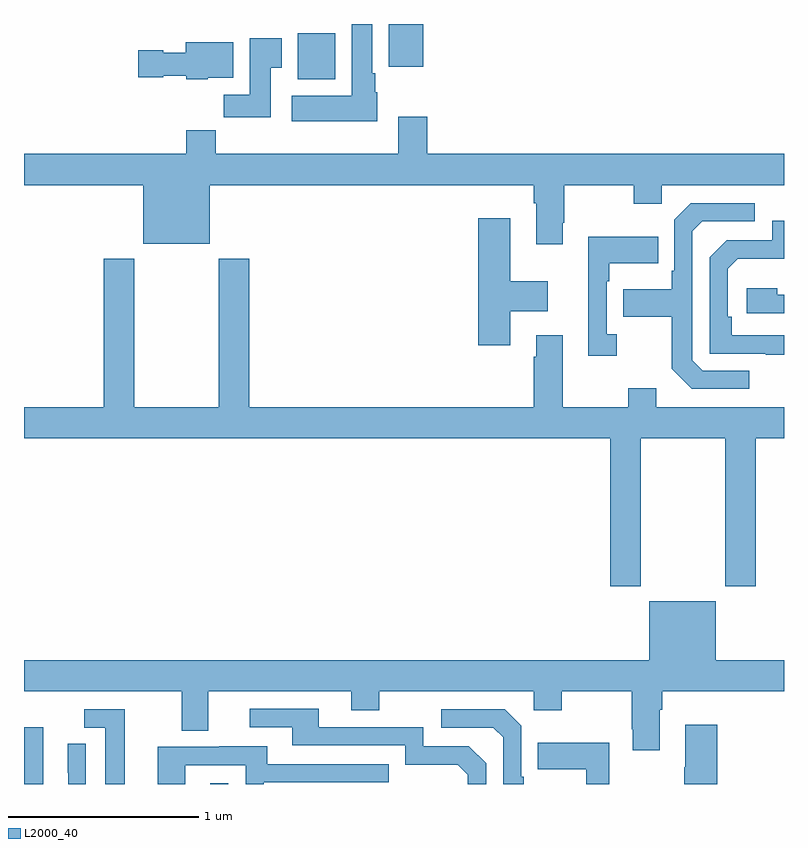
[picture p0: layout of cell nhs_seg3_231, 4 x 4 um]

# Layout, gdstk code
import gdstk
lib = gdstk.Library(unit=1e-6, precision=1e-09)
def R(c, l, rs):  # rectangles x0, y0, x1, y1
    for r in rs: c.add(gdstk.rectangle(r[:2], r[2:], *l))
def P(c, l, *ps):  # polygons
    for p in ps: c.add(gdstk.Polygon(p, *l))
L2000_40 = (2000, 40)

nhs_seg3_231 = lib.new_cell('nhs_seg3_231')
R(nhs_seg3_231, L2000_40, [(121,728.4,121.102,728.698), (121.979,728.4,122.076,728.404), (122.441,732.11,122.638,732.352), (122.921,732.176,123.1,732.4)])
P(nhs_seg3_231, L2000_40, [(122.86,732.042),(122.848,732.042),(122.848,732.142),(122.833,732.142),(122.833,732.4),(122.726,732.4),(122.726,732.022),(122.409,732.022),(122.409,731.888),(122.86,731.888)],
  [(122.299,732.169),(122.356,732.169),(122.356,732.325),(122.189,732.325),(122.189,732.028),(122.05,732.028),(122.05,731.91),(122.299,731.91)],
  [(121.968,732.116),(122.101,732.116),(122.101,732.304),(121.85,732.304),(121.85,732.25),(121.734,732.25),(121.734,732.263),(121.602,732.263),(121.602,732.121),(121.734,732.121),(121.734,732.128),(121.854,732.128),(121.854,732.11),(121.968,732.11)],
  [(123.835,731.353),(123.843,731.353),(123.843,731.552),(124.21,731.552),(124.21,731.453),(124.356,731.453),(124.356,731.552),(125,731.552),(125,731.716),(123.122,731.716),(123.122,731.911),(122.969,731.911),(122.969,731.716),(122.009,731.716),(122.009,731.84),(121.853,731.84),(121.853,731.716),(121,731.716),(121,731.552),(121.628,731.552),(121.628,731.243),(121.978,731.243),(121.978,731.552),(123.683,731.552),(123.683,731.456),(123.695,731.456),(123.695,731.241),(123.835,731.241)],
  [(124.816,730.575),(124.572,730.575),(124.518,730.629),(124.518,731.31),(124.569,731.361),(124.846,731.361),(124.846,731.457),(124.509,731.457),(124.422,731.37),(124.422,731.101),(124.41,731.101),(124.41,731.005),(124.153,731.005),(124.153,730.858),(124.41,730.858),(124.41,730.585),(124.515,730.479),(124.816,730.479)],
  [(123.559,730.889),(123.757,730.889),(123.757,731.047),(123.559,731.047),(123.559,731.377),(123.392,731.377),(123.392,730.71),(123.559,730.71)],
  [(125,730.761),(124.724,730.761),(124.724,730.858),(124.704,730.858),(124.704,731.112),(124.757,731.165),(125,731.165),(125,731.364),(124.938,731.364),(124.938,731.262),(124.698,731.262),(124.608,731.172),(124.608,730.665),(124.903,730.665),(124.903,730.66),(125,730.66)],
  [(124.12,730.766),(124.068,730.766),(124.068,731.045),(124.081,731.045),(124.081,731.141),(124.337,731.141),(124.337,731.281),(123.971,731.281),(123.971,730.653),(124.12,730.653)],
  [(124.245,730.22),(124.69,730.22),(124.69,729.441),(124.85,729.441),(124.85,730.22),(125,730.22),(125,730.384),(124.327,730.384),(124.327,730.483),(124.18,730.483),(124.18,730.384),(123.835,730.384),(123.835,730.762),(123.695,730.762),(123.695,730.649),(123.683,730.649),(123.683,730.384),(122.186,730.384),(122.186,731.164),(122.026,731.164),(122.026,730.384),(121.581,730.384),(121.581,731.164),(121.421,731.164),(121.421,730.384),(121,730.384),(121,730.22),(124.085,730.22),(124.085,729.441),(124.245,729.441)],
  [(125,730.974),(124.964,730.974),(124.964,731.008),(124.803,731.008),(124.803,730.878),(125,730.878)],
  [(124.345,728.792),(124.358,728.792),(124.358,728.888),(125,728.888),(125,729.052),(124.642,729.052),(124.642,729.361),(124.292,729.361),(124.292,729.052),(121,729.052),(121,728.888),(121.829,728.888),(121.829,728.68),(121.969,728.68),(121.969,728.888),(122.723,728.888),(122.723,728.789),(122.871,728.789),(122.871,728.888),(123.684,728.888),(123.684,728.789),(123.831,728.789),(123.831,728.888),(124.198,728.888),(124.198,728.689),(124.205,728.689),(124.205,728.577),(124.345,728.577)],
  [(123.432,728.508),(123.342,728.598),(123.102,728.598),(123.102,728.7),(122.551,728.7),(122.551,728.796),(122.187,728.796),(122.187,728.7),(122.411,728.7),(122.411,728.604),(123.006,728.604),(123.006,728.501),(123.283,728.501),(123.336,728.448),(123.336,728.4),(123.432,728.4)],
  [(121.531,728.793),(121.317,728.793),(121.317,728.697),(121.427,728.697),(121.427,728.4),(121.531,728.4)],
  [(123.631,728.437),(123.618,728.437),(123.618,728.706),(123.531,728.793),(123.195,728.793),(123.195,728.697),(123.471,728.697),(123.522,728.646),(123.522,728.4),(123.631,728.4)],
  [(124.649,728.713),(124.481,728.713),(124.481,728.489),(124.474,728.489),(124.474,728.4),(124.649,728.4)],
  [(124.081,728.617),(123.703,728.617),(123.703,728.477),(123.96,728.477),(123.96,728.4),(124.081,728.4)],
  [(121.326,728.612),(121.23,728.612),(121.23,728.458),(121.232,728.458),(121.232,728.4),(121.326,728.4)],
  [(121.848,728.499),(122.166,728.499),(122.166,728.4),(122.262,728.4),(122.262,728.409),(122.921,728.409),(122.921,728.505),(122.281,728.505),(122.281,728.599),(122.027,728.599),(122.027,728.595),(121.703,728.595),(121.703,728.4),(121.848,728.4)])

lib.write_gds('nhs_seg3_231.gds')
